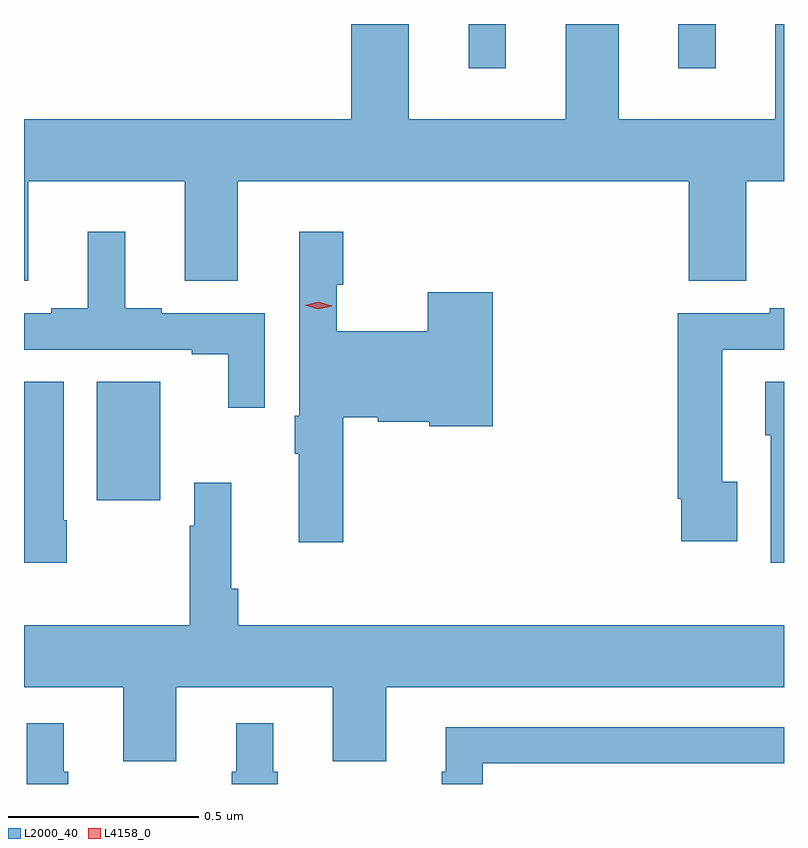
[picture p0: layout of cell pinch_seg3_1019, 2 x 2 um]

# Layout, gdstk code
import gdstk
lib = gdstk.Library(unit=1e-6, precision=1e-09)
def R(c, l, rs):  # rectangles x0, y0, x1, y1
    for r in rs: c.add(gdstk.rectangle(r[:2], r[2:], *l))
def P(c, l, *ps):  # polygons
    for p in ps: c.add(gdstk.Polygon(p, *l))
L2000_40 = (2000, 40)
L4158_0 = (4158, 0)

pinch_seg3_1019 = lib.new_cell('pinch_seg3_1019')
R(pinch_seg3_1019, L2000_40, [(413.114,688.089,413.281,688.4), (414.092,689.226,414.19,689.342), (414.644,689.226,414.742,689.342)])
P(pinch_seg3_1019, L2000_40, [(412.933,688.928),(413.345,688.928),(413.345,688.666),(413.485,688.666),(413.485,688.928),(414.671,688.928),(414.671,688.666),(414.823,688.666),(414.823,688.928),(414.922,688.928),(414.922,689.342),(414.899,689.342),(414.899,689.092),(414.487,689.092),(414.487,689.342),(414.347,689.342),(414.347,689.092),(413.935,689.092),(413.935,689.342),(413.783,689.342),(413.783,689.092),(412.922,689.092),(412.922,688.666),(412.933,688.666)],
  [(413.556,688.581),(413.284,688.581),(413.284,688.594),(413.188,688.594),(413.188,688.795),(413.09,688.795),(413.09,688.594),(412.994,688.594),(412.994,688.581),(412.922,688.581),(412.922,688.485),(413.363,688.485),(413.363,688.473),(413.459,688.473),(413.459,688.332),(413.556,688.332)],
  [(413.762,688.307),(413.853,688.307),(413.853,688.295),(413.988,688.295),(413.988,688.283),(414.155,688.283),(414.155,688.636),(413.984,688.636),(413.984,688.534),(413.745,688.534),(413.745,688.656),(413.762,688.656),(413.762,688.795),(413.646,688.795),(413.646,688.311),(413.634,688.311),(413.634,688.211),(413.645,688.211),(413.645,687.978),(413.762,687.978)],
  [(414.799,688.137),(414.759,688.137),(414.759,688.485),(414.922,688.485),(414.922,688.594),(414.884,688.594),(414.884,688.581),(414.643,688.581),(414.643,688.093),(414.651,688.093),(414.651,687.981),(414.799,687.981)],
  [(414.922,688.4),(414.872,688.4),(414.872,688.26),(414.887,688.26),(414.887,687.924),(414.922,687.924)],
  [(413.034,688.036),(413.026,688.036),(413.026,688.4),(412.922,688.4),(412.922,687.924),(413.034,687.924)],
  [(413.323,687.596),(413.735,687.596),(413.735,687.402),(413.875,687.402),(413.875,687.596),(414.922,687.596),(414.922,687.76),(413.486,687.76),(413.486,687.856),(413.468,687.856),(413.468,688.135),(413.37,688.135),(413.37,688.022),(413.358,688.022),(413.358,687.76),(412.922,687.76),(412.922,687.596),(413.183,687.596),(413.183,687.402),(413.323,687.402)],
  [(413.038,687.374),(413.026,687.374),(413.026,687.502),(412.929,687.502),(412.929,687.342),(413.038,687.342)],
  [(413.59,687.374),(413.578,687.374),(413.578,687.502),(413.48,687.502),(413.48,687.374),(413.469,687.374),(413.469,687.342),(413.59,687.342)],
  [(414.129,687.396),(414.922,687.396),(414.922,687.492),(414.032,687.492),(414.032,687.374),(414.021,687.374),(414.021,687.342),(414.129,687.342)])
P(pinch_seg3_1019, L4158_0, [(413.696,688.591),(413.661,688.602),(413.66,688.602),(413.661,688.602),(413.697,688.611),(413.732,688.6),(413.733,688.6),(413.732,688.599)])

lib.write_gds('pinch_seg3_1019.gds')
